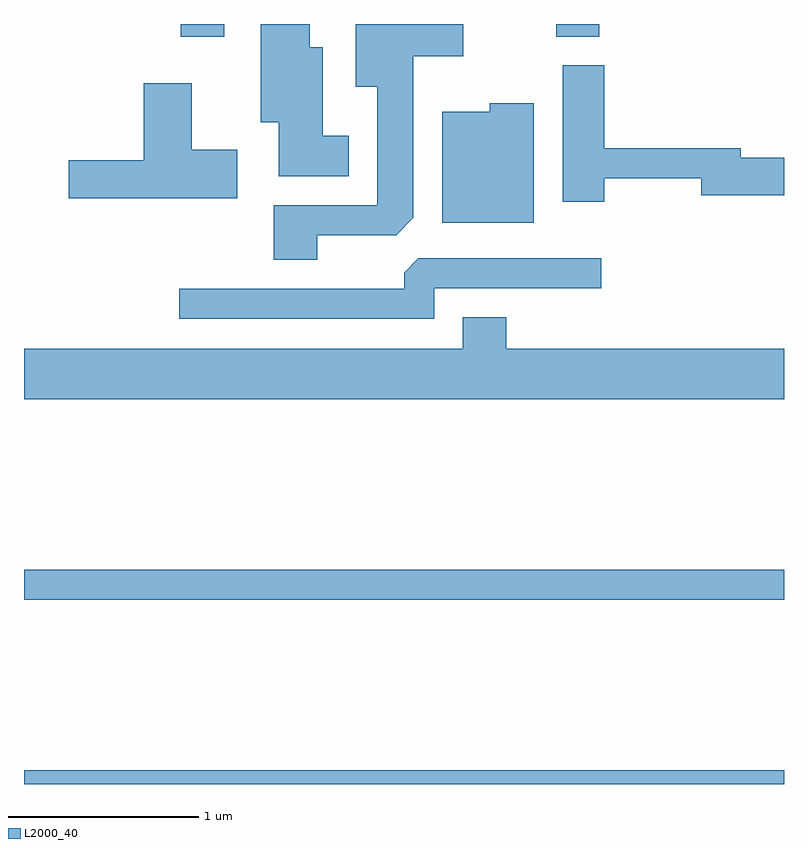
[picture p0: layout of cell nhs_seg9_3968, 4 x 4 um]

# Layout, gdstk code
import gdstk
lib = gdstk.Library(unit=1e-6, precision=1e-09)
def R(c, l, rs):  # rectangles x0, y0, x1, y1
    for r in rs: c.add(gdstk.rectangle(r[:2], r[2:], *l))
def P(c, l, *ps):  # polygons
    for p in ps: c.add(gdstk.Polygon(p, *l))
L2000_40 = (2000, 40)

nhs_seg9_3968 = lib.new_cell('nhs_seg9_3968')
R(nhs_seg9_3968, L2000_40, [(301.611,2016.432,305.611,2016.504), (301.611,2017.401,305.611,2017.559), (302.436,2020.366,302.664,2020.432), (304.411,2020.366,304.639,2020.432)])
P(nhs_seg9_3968, L2000_40, [(303.154,2019.321),(303.569,2019.321),(303.659,2019.412),(303.659,2020.261),(303.924,2020.261),(303.924,2020.432),(303.356,2020.432),(303.356,2020.101),(303.471,2020.101),(303.471,2019.479),(302.926,2019.479),(302.926,2019.191),(303.154,2019.191)],
  [(303.319,2019.844),(303.184,2019.844),(303.184,2020.309),(303.114,2020.309),(303.114,2020.432),(302.856,2020.432),(302.856,2019.916),(302.951,2019.916),(302.951,2019.631),(303.319,2019.631)],
  [(304.664,2019.621),(305.176,2019.621),(305.176,2019.531),(305.611,2019.531),(305.611,2019.729),(305.384,2019.729),(305.384,2019.779),(304.664,2019.779),(304.664,2020.214),(304.446,2020.214),(304.446,2019.496),(304.664,2019.496)],
  [(302.734,2019.769),(302.494,2019.769),(302.494,2020.119),(302.241,2020.119),(302.241,2019.714),(301.846,2019.714),(301.846,2019.516),(302.734,2019.516)],
  [(304.294,2020.014),(304.061,2020.014),(304.061,2019.969),(303.811,2019.969),(303.811,2019.386),(304.294,2019.386)],
  [(303.769,2019.041),(304.648,2019.041),(304.648,2019.199),(303.687,2019.199),(303.611,2019.124),(303.611,2019.039),(302.428,2019.039),(302.428,2018.881),(303.769,2018.881)],
  [(305.611,2018.724),(304.149,2018.724),(304.149,2018.889),(303.921,2018.889),(303.921,2018.724),(301.611,2018.724),(301.611,2018.456),(305.611,2018.456)])

lib.write_gds('nhs_seg9_3968.gds')
